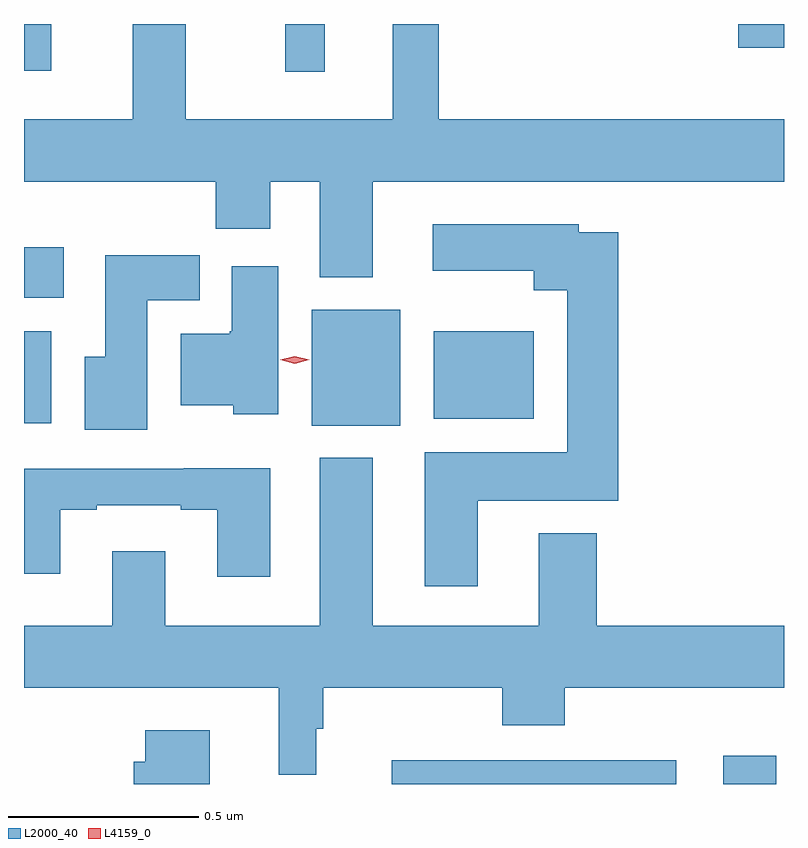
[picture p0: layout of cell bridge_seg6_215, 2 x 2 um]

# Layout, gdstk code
import gdstk
lib = gdstk.Library(unit=1e-6, precision=1e-09)
def R(c, l, rs):  # rectangles x0, y0, x1, y1
    for r in rs: c.add(gdstk.rectangle(r[:2], r[2:], *l))
def P(c, l, *ps):  # polygons
    for p in ps: c.add(gdstk.Polygon(p, *l))
L2000_40 = (2000, 40)
L4159_0 = (4159, 0)

bridge_seg6_215 = lib.new_cell('bridge_seg6_215')
R(bridge_seg6_215, L2000_40, [(215.073,937.759,215.821,937.821), (215.945,937.759,216.085,937.834), (214.862,938.702,215.095,939.007), (214.105,938.708,214.177,938.95), (215.183,938.72,215.446,938.95), (214.105,939.038,214.21,939.172), (214.793,939.633,214.897,939.759), (214.105,939.636,214.177,939.759), (215.985,939.696,216.105,939.759)])
P(bridge_seg6_215, L2000_40, [(215.023,939.344),(216.105,939.344),(216.105,939.508),(215.197,939.508),(215.197,939.759),(215.075,939.759),(215.075,939.508),(214.531,939.508),(214.531,939.759),(214.391,939.759),(214.391,939.508),(214.105,939.508),(214.105,939.344),(214.609,939.344),(214.609,939.22),(214.753,939.22),(214.753,939.344),(214.883,939.344),(214.883,939.092),(215.023,939.092)],
  [(215.299,938.504),(215.669,938.504),(215.669,939.211),(215.565,939.211),(215.565,939.232),(215.181,939.232),(215.181,939.11),(215.447,939.11),(215.447,939.059),(215.534,939.059),(215.534,938.632),(215.159,938.632),(215.159,938.28),(215.299,938.28)],
  [(214.429,939.032),(214.567,939.032),(214.567,939.15),(214.319,939.15),(214.319,938.884),(214.265,938.884),(214.265,938.691),(214.429,938.691)],
  [(214.774,939.121),(214.652,939.121),(214.652,938.95),(214.646,938.95),(214.646,938.944),(214.517,938.944),(214.517,938.756),(214.656,938.756),(214.656,938.732),(214.774,938.732)],
  [(215.459,938.176),(215.023,938.176),(215.023,938.617),(214.883,938.617),(214.883,938.176),(214.477,938.176),(214.477,938.371),(214.337,938.371),(214.337,938.176),(214.105,938.176),(214.105,938.012),(214.775,938.012),(214.775,937.783),(214.874,937.783),(214.874,937.904),(214.892,937.904),(214.892,938.012),(215.363,938.012),(215.363,937.913),(215.528,937.913),(215.528,938.012),(216.105,938.012),(216.105,938.176),(215.612,938.176),(215.612,938.419),(215.459,938.419)],
  [(214.753,938.59),(214.525,938.59),(214.525,938.589),(214.105,938.589),(214.105,938.312),(214.201,938.312),(214.201,938.481),(214.297,938.481),(214.297,938.493),(214.517,938.493),(214.517,938.481),(214.613,938.481),(214.613,938.304),(214.753,938.304)],
  [(214.594,937.9),(214.424,937.9),(214.424,937.818),(214.394,937.818),(214.394,937.759),(214.594,937.759)])
P(bridge_seg6_215, L4159_0, [(214.818,938.865),(214.779,938.875),(214.779,938.875),(214.779,938.875),(214.818,938.885),(214.856,938.875),(214.856,938.875),(214.856,938.875)])

lib.write_gds('bridge_seg6_215.gds')
